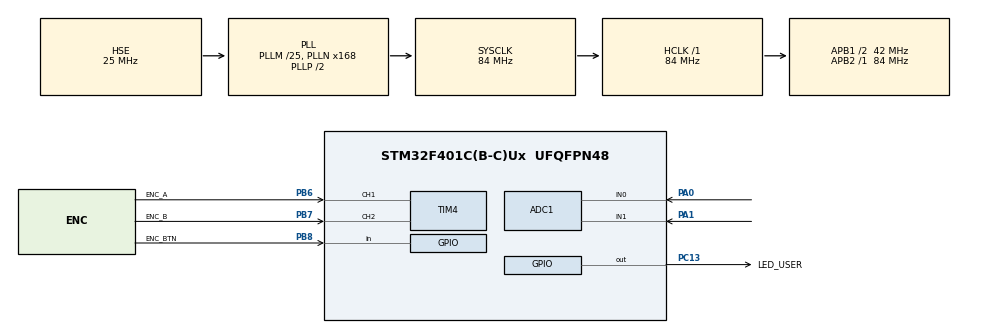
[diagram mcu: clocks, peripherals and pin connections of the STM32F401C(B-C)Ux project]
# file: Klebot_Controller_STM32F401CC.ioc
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ADC1.Channel-0\#ChannelRegularConversion=ADC_CHANNEL_0
ADC1.Channel-1\#ChannelRegularConversion=ADC_CHANNEL_1
ADC1.ContinuousConvMode=DISABLE
ADC1.DMAContinuousRequests=ENABLE
ADC1.ExternalTrigConv=ADC_EXTERNALTRIGCONV_T3_TRGO
ADC1.NbrOfConversion=2
ADC1.NbrOfConversionFlag=1
ADC1.Rank-0\#ChannelRegularConversion=1
ADC1.Rank-1\#ChannelRegularConversion=2
ADC1.SamplingTime-0\#ChannelRegularConversion=ADC_SAMPLETIME_3CYCLES
ADC1.SamplingTime-1\#ChannelRegularConversion=ADC_SAMPLETIME_3CYCLES
ADC1.master=1
Dma.ADC1.0.Direction=DMA_PERIPH_TO_MEMORY
Dma.ADC1.0.FIFOMode=DMA_FIFOMODE_DISABLE
Dma.ADC1.0.Instance=DMA2_Stream0
Dma.ADC1.0.MemDataAlignment=DMA_MDATAALIGN_HALFWORD
Dma.ADC1.0.MemInc=DMA_MINC_ENABLE
Dma.ADC1.0.Mode=DMA_CIRCULAR
Dma.ADC1.0.PeriphDataAlignment=DMA_PDATAALIGN_HALFWORD
Dma.ADC1.0.PeriphInc=DMA_PINC_DISABLE
Dma.ADC1.0.Priority=DMA_PRIORITY_LOW
Dma.Request0=ADC1
Mcu.Family=STM32F4
Mcu.Name=STM32F401C(B-C)Ux
Mcu.Package=UFQFPN48
NVIC.DMA2_Stream0_IRQn=true\:0\:0\:false\:false\:true\:false\:true\:true
NVIC.PriorityGroup=NVIC_PRIORITYGROUP_4
PA0-WKUP.Signal=ADCx_IN0
PA1.Signal=ADCx_IN1
PA13.Mode=Serial_Wire
PA13.Signal=SYS_JTMS-SWDIO
PA14.Mode=Serial_Wire
PA14.Signal=SYS_JTCK-SWCLK
PB6.GPIO_Label=ENC_A
PB6.Signal=S_TIM4_CH1
PB7.GPIO_Label=ENC_B
PB7.Signal=S_TIM4_CH2
PB8.GPIO_Label=ENC_BTN
PB8.Signal=GPIO_Input
PC13-ANTI_TAMP.GPIO_Label=LED_USER
PC13-ANTI_TAMP.Signal=GPIO_Output
PC14-OSC32_IN.Mode=LSE-External-Oscillator
PC14-OSC32_IN.Signal=RCC_OSC32_IN
PC15-OSC32_OUT.Mode=LSE-External-Oscillator
PC15-OSC32_OUT.Signal=RCC_OSC32_OUT
PH0\ -\ OSC_IN.Mode=HSE-External-Oscillator
PH0\ -\ OSC_IN.Signal=RCC_OSC_IN
PH1\ -\ OSC_OUT.Mode=HSE-External-Oscillator
PH1\ -\ OSC_OUT.Signal=RCC_OSC_OUT
ProjectManager.HeapSize=0x200
ProjectManager.StackSize=0x400
ProjectManager.TargetToolchain=STM32CubeIDE
RCC.48MHZClocksFreq_Value=42000000
RCC.AHBFreq_Value=84000000
RCC.APB1CLKDivider=RCC_HCLK_DIV2
RCC.APB1Freq_Value=42000000
RCC.APB1TimFreq_Value=84000000
RCC.APB2Freq_Value=84000000
RCC.APB2TimFreq_Value=84000000
RCC.CortexFreq_Value=84000000
RCC.HCLKFreq_Value=84000000
RCC.HSE_VALUE=25000000
RCC.HSI_VALUE=16000000
RCC.PLLM=25
RCC.PLLN=168
RCC.PLLSourceVirtual=RCC_PLLSOURCE_HSE
RCC.SYSCLKFreq_VALUE=84000000
RCC.SYSCLKSource=RCC_SYSCLKSOURCE_PLLCLK
RCC.VCOOutputFreq_Value=168000000
SH.ADCx_IN0.0=ADC1_IN0,IN0
SH.ADCx_IN1.0=ADC1_IN1,IN1
SH.S_TIM4_CH1.0=TIM4_CH1,Encoder_Interface
SH.S_TIM4_CH2.0=TIM4_CH2,Encoder_Interface
TIM3.Period=999
TIM3.Prescaler=839
TIM3.TIM_MasterOutputTrigger=TIM_TRGO_UPDATE
TIM4.EncoderMode=TIM_ENCODERMODE_TI12
TIM4.IC1Filter=15
TIM4.IC2Filter=15
VP_TIM3_VS_ClockSourceINT.Mode=Internal
board=custom

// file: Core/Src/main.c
/* USER CODE BEGIN Header */
/**
  ******************************************************************************
  * @file           : main.c
  * @brief          : Main program body
  ******************************************************************************
  * @attention
  *
  * Copyright (c) 2023 STMicroelectronics.
  * All rights reserved.
  *
  * This software is licensed under terms that can be found in the LICENSE file
  * in the root directory of this software component.
  * If no LICENSE file comes with this software, it is provided AS-IS.
  *
  ******************************************************************************
  */
/* USER CODE END Header */
#include "main.h"
#include "adc.h"
#include "dma.h"
#include "tim.h"
#include "gpio.h"

/* USER CODE BEGIN Includes */
#include "joystick.h"
#include "stdio.h"
/* USER CODE END Includes */

/* USER CODE BEGIN PV */
uint16_t AdcSamples[10];
uint16_t AdcSamplesMean[2];
Joystick_t LeftJoystick;

int8_t dev;

int8_t Value;
/* USER CODE END PV */

void SystemClock_Config(void);
/* USER CODE BEGIN PFP */
int8_t Enc_GetPulseCount(TIM_HandleTypeDef *encTimer);
/* USER CODE END PFP */

int main(void)
{

  /* MCU Configuration--------------------------------------------------------*/

  /* Reset of all peripherals, Initializes the Flash interface and the Systick. */
  HAL_Init();

  /* Configure the system clock */
  SystemClock_Config();

  /* Initialize all configured peripherals */
  MX_GPIO_Init();
  MX_DMA_Init();
  MX_ADC1_Init();
  MX_TIM3_Init();
  MX_TIM4_Init();
  /* USER CODE BEGIN 2 */
  HAL_TIM_Base_Start(&htim3);	//start timer3, generates uptade event for adc (trigger event)
  HAL_ADC_Start_DMA(&hadc1, (uint32_t*)AdcSamples, 10);	//external trigger conversion source, scan mode, dma continuous requests, dma circular mode
  JoyS_Init(&LeftJoystick, &AdcSamplesMean[0], &AdcSamplesMean[1]);
  JoyS_SetIdleValues(&LeftJoystick);

  HAL_TIM_Encoder_Start(&htim4, TIM_CHANNEL_ALL);

  /* USER CODE END 2 */

  /* Infinite loop */
  /* USER CODE BEGIN WHILE */
  while (1)
  {
	  //HAL_GPIO_TogglePin(LED_USER_GPIO_Port, LED_USER_Pin);
	  LeftJoystick.DeviationX = Joy_GetDeviationPercent(&LeftJoystick, X_AXIS);
	  LeftJoystick.DeviationY = Joy_GetDeviationPercent(&LeftJoystick, Y_AXIS);

	  HAL_Delay(100);

	  Value+=Enc_GetPulseCount(&htim4);
    /* USER CODE END WHILE */

  }
}

void SystemClock_Config(void)
{
  RCC_OscInitTypeDef RCC_OscInitStruct = {0};
  RCC_ClkInitTypeDef RCC_ClkInitStruct = {0};

  /** Configure the main internal regulator output voltage
  */
  __HAL_RCC_PWR_CLK_ENABLE();
  __HAL_PWR_VOLTAGESCALING_CONFIG(PWR_REGULATOR_VOLTAGE_SCALE2);

  /** Initializes the RCC Oscillators according to the specified parameters
  * in the RCC_OscInitTypeDef structure.
  */
  RCC_OscInitStruct.OscillatorType = RCC_OSCILLATORTYPE_HSE;
  RCC_OscInitStruct.HSEState = RCC_HSE_ON;
  RCC_OscInitStruct.PLL.PLLState = RCC_PLL_ON;
  RCC_OscInitStruct.PLL.PLLSource = RCC_PLLSOURCE_HSE;
  RCC_OscInitStruct.PLL.PLLM = 25;
  RCC_OscInitStruct.PLL.PLLN = 168;
  RCC_OscInitStruct.PLL.PLLP = RCC_PLLP_DIV2;
  RCC_OscInitStruct.PLL.PLLQ = 4;
  if (HAL_RCC_OscConfig(&RCC_OscInitStruct) != HAL_OK)
  {
    Error_Handler();
  }

  /** Initializes the CPU, AHB and APB buses clocks
  */
  RCC_ClkInitStruct.ClockType = RCC_CLOCKTYPE_HCLK|RCC_CLOCKTYPE_SYSCLK
                              |RCC_CLOCKTYPE_PCLK1|RCC_CLOCKTYPE_PCLK2;
  RCC_ClkInitStruct.SYSCLKSource = RCC_SYSCLKSOURCE_PLLCLK;
  RCC_ClkInitStruct.AHBCLKDivider = RCC_SYSCLK_DIV1;
  RCC_ClkInitStruct.APB1CLKDivider = RCC_HCLK_DIV2;
  RCC_ClkInitStruct.APB2CLKDivider = RCC_HCLK_DIV1;

  if (HAL_RCC_ClockConfig(&RCC_ClkInitStruct, FLASH_LATENCY_2) != HAL_OK)
  {
    Error_Handler();
  }
}

/* USER CODE BEGIN 4 */
void HAL_ADC_ConvCpltCallback(ADC_HandleTypeDef* hadc)
{
	uint8_t i;
	uint16_t ValuesBuffer[2];

	ValuesBuffer[0] = 0;
	ValuesBuffer[1] = 0;
	for(i = 0; i < 5; i++)
	{
		ValuesBuffer[0] += AdcSamples[i*2]; //0,2,4,6,8
		ValuesBuffer[1] += AdcSamples[(i*2)+1]; //1,3,5,7,9
	}
	AdcSamplesMean[0] = ValuesBuffer[0]/5;
	AdcSamplesMean[1] = ValuesBuffer[1]/5;
}

int8_t Enc_GetPulseCount(TIM_HandleTypeDef *encTimer)
{
	static uint16_t LastTimerCounter = 0;
	int CounterDif = encTimer->Instance->CNT - LastTimerCounter;
	if(CounterDif >= 4 || CounterDif <= -4)
	{
		LastTimerCounter = encTimer->Instance->CNT;
		return (int8_t)(CounterDif / 4);

	}
	else
	{
		return 0;
	}
}
/* USER CODE END 4 */

void Error_Handler(void)
{
  __disable_irq();
  while (1)
  {
  }
}
